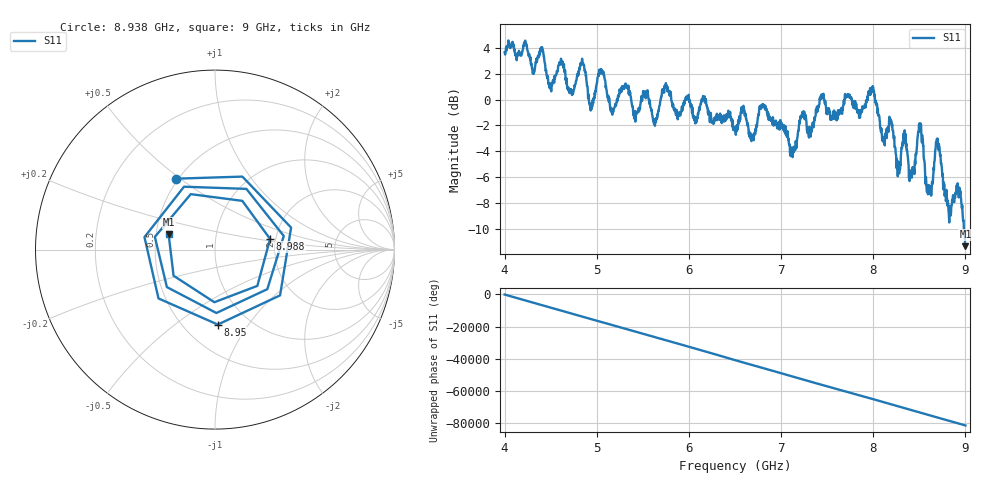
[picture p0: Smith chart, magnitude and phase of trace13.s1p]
! Created with skrf 1.8.0 (http://scikit-rf.org).
# Hz S RI R 50.0
!freq ReS11 ImS11
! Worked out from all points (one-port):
!   1601 points, 4 GHz to 9 GHz, reference 50 ohm
!   lowest |S11| = -11.3 dB at 9 GHz (marker M1), VSWR 1.75, Z = 29.1 + j5.3 ohm
!   |S11| at or under -10 dB: 8.983415 GHz to end of sweep
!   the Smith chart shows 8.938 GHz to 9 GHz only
!   S11 on the Smith chart (normalised r, x): 8.938 GHz: 0.49, +0.48; 8.95 GHz: 0.72, -0.73; 8.988 GHz: 1.86, +0.25; 9 GHz: 0.58, +0.11
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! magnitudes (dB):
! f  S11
! 4 GHz  3.6
! 4.4 GHz  3.8
! 4.497 GHz  1.3
! 4.625 GHz  2.7
! 4.725 GHz  0.5
! 4.847 GHz  2.7
! 4.941 GHz  -0.5
! 5.05 GHz  2.2
! 5.162 GHz  -1.0
! 5.25 GHz  0.7
! 5.875 GHz  -1.3
! 6.5 GHz  -2.4
! 6.816 GHz  -0.5
! 7.125 GHz  -4.4
! 7.228 GHz  -1.1
! 7.75 GHz  0.1
! 7.991 GHz  1.0
! 8.1 GHz  -3.2
! 8.375 GHz  -4.3
! 8.422 GHz  -5.6
! 8.506 GHz  -2.0
! 8.603 GHz  -6.6
! 8.697 GHz  -3.4
! 8.822 GHz  -9.1
! 8.938 GHz  -6.9
! 8.95 GHz  -7.6
! 8.988 GHz  -10.1
! 9 GHz  -11.3
